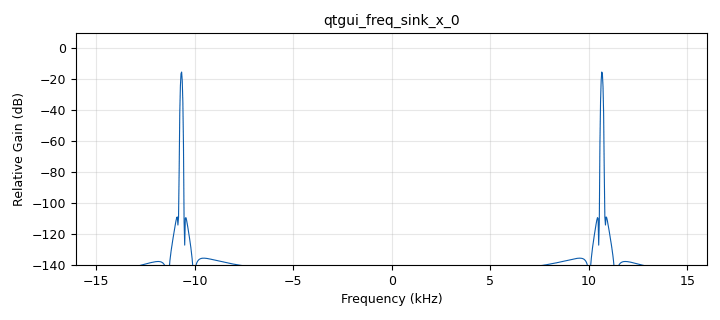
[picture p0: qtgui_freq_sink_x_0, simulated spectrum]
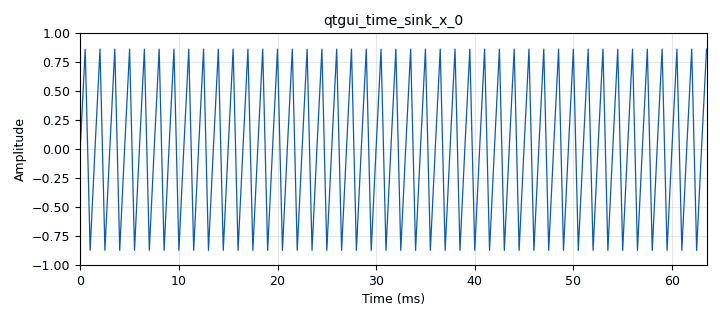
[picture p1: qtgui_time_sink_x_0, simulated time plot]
options:
  parameters:
    author: barry duggan
    copyright: '2020'
    description: sample rate demo
    generate_options: qt_gui
    id: default1
    output_language: python
    title: sample rate demo
  states: {}

blocks:
- name: freq
  id: variable_qtgui_range
  parameters:
    label: frequency
    start: '1000'
    step: '1000'
    stop: '40000'
    value: 32000/12
  states: {}
- name: samp_rate
  id: variable
  parameters:
    value: '60000'
  states: {state: disabled}
- name: samp_rate
  id: variable_qtgui_range
  parameters:
    label: Samp_rate
    start: '1000'
    step: '1000'
    stop: '60000'
    value: '2000'
  states: {}
- name: analog_sig_source_x_0
  id: analog_sig_source_x
  parameters:
    amp: '1'
    freq: freq
    offset: '0'
    phase: '0'
    samp_rate: samp_rate
    type: float
    waveform: analog.GR_SIN_WAVE
  states: {}
- name: blocks_throttle_0
  id: blocks_throttle
  parameters:
    samples_per_second: samp_rate
    type: float
  states: {}
- name: qtgui_freq_sink_x_0
  id: qtgui_freq_sink_x
  parameters:
    bw: '32000'
    fc: '0'
    fftsize: '1024'
    type: float
  states: {}
- name: qtgui_time_sink_x_0
  id: qtgui_time_sink_x
  parameters:
    size: '128'
    srate: samp_rate
    type: float
  states: {}

connections:
- [analog_sig_source_x_0, '0', blocks_throttle_0, '0']
- [blocks_throttle_0, '0', qtgui_freq_sink_x_0, '0']
- [blocks_throttle_0, '0', qtgui_time_sink_x_0, '0']

metadata:
  file_format: 1
